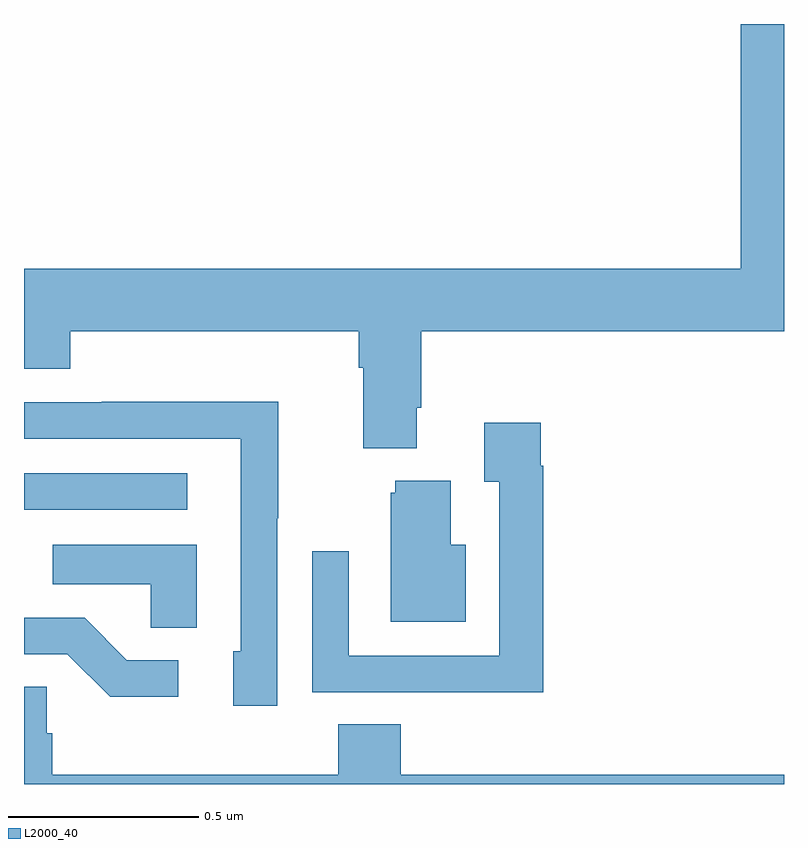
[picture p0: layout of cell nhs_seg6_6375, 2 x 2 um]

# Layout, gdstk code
import gdstk
lib = gdstk.Library(unit=1e-6, precision=1e-09)
def R(c, l, rs):  # rectangles x0, y0, x1, y1
    for r in rs: c.add(gdstk.rectangle(r[:2], r[2:], *l))
def P(c, l, *ps):  # polygons
    for p in ps: c.add(gdstk.Polygon(p, *l))
L2000_40 = (2000, 40)

nhs_seg6_6375 = lib.new_cell('nhs_seg6_6375')
R(nhs_seg6_6375, L2000_40, [(195,924.222,195.43,924.318)])
P(nhs_seg6_6375, L2000_40, [(196.033,924.49),(196.046,924.49),(196.046,924.692),(197,924.692),(197,925.5),(196.886,925.5),(196.886,924.856),(195,924.856),(195,924.593),(195.122,924.593),(195.122,924.692),(195.881,924.692),(195.881,924.596),(195.893,924.596),(195.893,924.383),(196.033,924.383)],
  [(195.666,924.199),(195.669,924.199),(195.669,924.506),(195.205,924.506),(195.205,924.504),(195,924.504),(195,924.408),(195.57,924.408),(195.57,923.85),(195.551,923.85),(195.551,923.706),(195.666,923.706)],
  [(196.367,924.338),(196.36,924.338),(196.36,924.451),(196.211,924.451),(196.211,924.295),(196.251,924.295),(196.251,923.838),(195.855,923.838),(195.855,924.112),(195.759,924.112),(195.759,923.742),(196.075,923.742),(196.075,923.741),(196.367,923.741)],
  [(196.162,924.13),(196.123,924.13),(196.123,924.298),(195.977,924.298),(195.977,924.267),(195.965,924.267),(195.965,923.927),(196.162,923.927)],
  [(195.454,924.13),(195.076,924.13),(195.076,924.026),(195.333,924.026),(195.333,923.911),(195.454,923.911)],
  [(195.406,923.826),(195.271,923.826),(195.16,923.937),(195,923.937),(195,923.841),(195.114,923.841),(195.227,923.729),(195.406,923.729)],
  [(197,923.524),(195.992,923.524),(195.992,923.657),(195.827,923.657),(195.827,923.524),(195.074,923.524),(195.074,923.633),(195.06,923.633),(195.06,923.756),(195,923.756),(195,923.5),(197,923.5)])

lib.write_gds('nhs_seg6_6375.gds')
